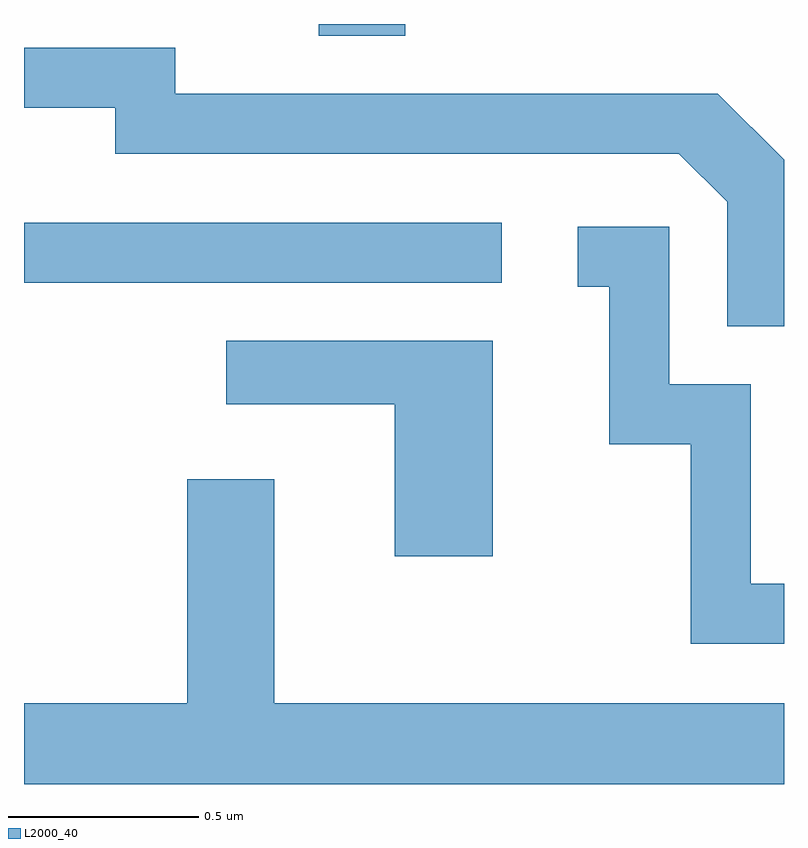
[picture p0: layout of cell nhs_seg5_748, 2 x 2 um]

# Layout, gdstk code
import gdstk
lib = gdstk.Library(unit=1e-6, precision=1e-09)
def R(c, l, rs):  # rectangles x0, y0, x1, y1
    for r in rs: c.add(gdstk.rectangle(r[:2], r[2:], *l))
def P(c, l, *ps):  # polygons
    for p in ps: c.add(gdstk.Polygon(p, *l))
L2000_40 = (2000, 40)

nhs_seg5_748 = lib.new_cell('nhs_seg5_748')
R(nhs_seg5_748, L2000_40, [(190.611,1460.391,191.868,1460.549), (191.386,1461.041,191.614,1461.072)])
P(nhs_seg5_748, L2000_40, [(192.611,1460.715),(192.437,1460.889),(191.009,1460.889),(191.009,1461.009),(190.611,1461.009),(190.611,1460.851),(190.851,1460.851),(190.851,1460.731),(192.334,1460.731),(192.461,1460.604),(192.461,1460.276),(192.611,1460.276)],
  [(192.611,1459.599),(192.524,1459.599),(192.524,1460.124),(192.309,1460.124),(192.309,1460.539),(192.068,1460.539),(192.068,1460.381),(192.151,1460.381),(192.151,1459.966),(192.366,1459.966),(192.366,1459.441),(192.611,1459.441)],
  [(191.844,1460.239),(191.143,1460.239),(191.143,1460.071),(191.586,1460.071),(191.586,1459.671),(191.844,1459.671)],
  [(192.611,1459.284),(191.269,1459.284),(191.269,1459.874),(191.041,1459.874),(191.041,1459.284),(190.611,1459.284),(190.611,1459.072),(192.611,1459.072)])

lib.write_gds('nhs_seg5_748.gds')
